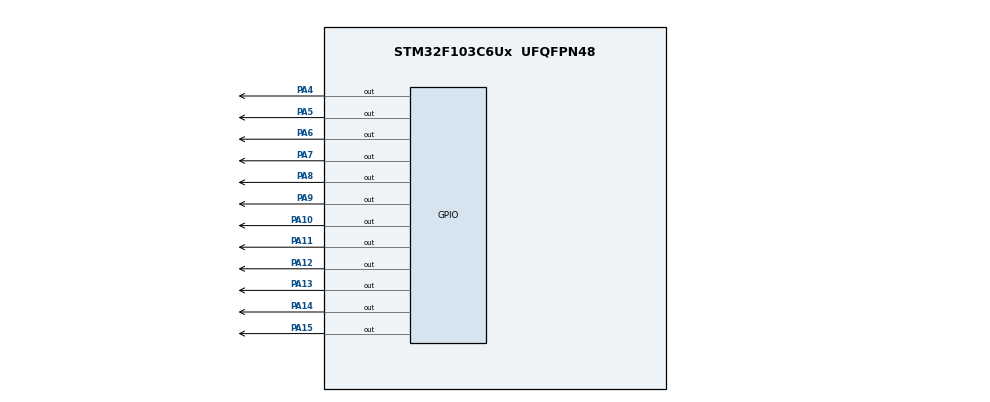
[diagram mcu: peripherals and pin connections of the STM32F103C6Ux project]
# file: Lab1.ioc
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Mcu.Family=STM32F1
Mcu.Name=STM32F103C6Ux
Mcu.Package=UFQFPN48
NVIC.PriorityGroup=NVIC_PRIORITYGROUP_4
PA10.Signal=GPIO_Output
PA11.Signal=GPIO_Output
PA12.Signal=GPIO_Output
PA13.Signal=GPIO_Output
PA14.Signal=GPIO_Output
PA15.Signal=GPIO_Output
PA4.Signal=GPIO_Output
PA5.Signal=GPIO_Output
PA6.Signal=GPIO_Output
PA7.Signal=GPIO_Output
PA8.Signal=GPIO_Output
PA9.Signal=GPIO_Output
ProjectManager.HeapSize=0x200
ProjectManager.StackSize=0x400
ProjectManager.TargetToolchain=STM32CubeIDE
RCC.APB1Freq_Value=8000000
RCC.APB2Freq_Value=8000000
board=custom

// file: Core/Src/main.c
/* USER CODE BEGIN Header */
/**
 ******************************************************************************
 * @file           : main.c
 * @brief          : Main program body
 ******************************************************************************
 * @attention
 *
 * Copyright (c) 2022 STMicroelectronics.
 * All rights reserved.
 *
 * This software is licensed under terms that can be found in the LICENSE file
 * in the root directory of this software component.
 * If no LICENSE file comes with this software, it is provided AS-IS.
 *
 ******************************************************************************
 */
/* USER CODE END Header */
#include "main.h"

void SystemClock_Config(void);
static void MX_GPIO_Init(void);

/* USER CODE BEGIN 0 */
void clearAllClock()
{
	GPIOA->ODR = 0b0;
}

void setNumberOnClock(int num)
{
	GPIOA->BSRR = 0b1 << (4 + num); // Start at PA4
}

void clearNumberOnClock(int num)
{
	GPIOA->BSRR = 0b1 << (4 + num) << 16; // Start at PA4
}
/* USER CODE END 0 */

int main(void)
{

	/* MCU Configuration--------------------------------------------------------*/

	/* Reset of all peripherals, Initializes the Flash interface and the Systick. */
	HAL_Init();

	/* Configure the system clock */
	SystemClock_Config();

	/* Initialize all configured peripherals */
	MX_GPIO_Init();
	/* USER CODE BEGIN 2 */
	int second = 0, minute = 0, hour = 0;
	/* USER CODE END 2 */

	/* Infinite loop */
	/* USER CODE BEGIN WHILE */
	while (1)
	{
		clearAllClock();
		setNumberOnClock(second / 5);
		setNumberOnClock(minute / 5);
		setNumberOnClock(hour / 12);

		HAL_Delay(1000);

		if (++second >= 60)
		{
			second = 0;
			if (++minute >= 60)
			{
				minute = 0;
				if (++hour >= 24)
				{
					hour = 0;
				}
			}
		}
		/* USER CODE END WHILE */

	}
}

void SystemClock_Config(void)
{
	RCC_OscInitTypeDef RCC_OscInitStruct = {0};
	RCC_ClkInitTypeDef RCC_ClkInitStruct = {0};

	/** Initializes the RCC Oscillators according to the specified parameters
	 * in the RCC_OscInitTypeDef structure.
	 */
	RCC_OscInitStruct.OscillatorType = RCC_OSCILLATORTYPE_HSI;
	RCC_OscInitStruct.HSIState = RCC_HSI_ON;
	RCC_OscInitStruct.HSICalibrationValue = RCC_HSICALIBRATION_DEFAULT;
	RCC_OscInitStruct.PLL.PLLState = RCC_PLL_NONE;
	if (HAL_RCC_OscConfig(&RCC_OscInitStruct) != HAL_OK)
	{
		Error_Handler();
	}

	/** Initializes the CPU, AHB and APB buses clocks
	 */
	RCC_ClkInitStruct.ClockType = RCC_CLOCKTYPE_HCLK | RCC_CLOCKTYPE_SYSCLK | RCC_CLOCKTYPE_PCLK1 | RCC_CLOCKTYPE_PCLK2;
	RCC_ClkInitStruct.SYSCLKSource = RCC_SYSCLKSOURCE_HSI;
	RCC_ClkInitStruct.AHBCLKDivider = RCC_SYSCLK_DIV1;
	RCC_ClkInitStruct.APB1CLKDivider = RCC_HCLK_DIV1;
	RCC_ClkInitStruct.APB2CLKDivider = RCC_HCLK_DIV1;

	if (HAL_RCC_ClockConfig(&RCC_ClkInitStruct, FLASH_LATENCY_0) != HAL_OK)
	{
		Error_Handler();
	}
}

static void MX_GPIO_Init(void)
{
	GPIO_InitTypeDef GPIO_InitStruct = {0};

	/* GPIO Ports Clock Enable */
	__HAL_RCC_GPIOA_CLK_ENABLE();

	/*Configure GPIO pin Output Level */
	HAL_GPIO_WritePin(GPIOA, GPIO_PIN_4 | GPIO_PIN_5 | GPIO_PIN_6 | GPIO_PIN_7 | GPIO_PIN_8 | GPIO_PIN_9 | GPIO_PIN_10 | GPIO_PIN_11 | GPIO_PIN_12 | GPIO_PIN_13 | GPIO_PIN_14 | GPIO_PIN_15, GPIO_PIN_RESET);

	/*Configure GPIO pins : PA4 PA5 PA6 PA7
							 PA8 PA9 PA10 PA11
							 PA12 PA13 PA14 PA15 */
	GPIO_InitStruct.Pin = GPIO_PIN_4 | GPIO_PIN_5 | GPIO_PIN_6 | GPIO_PIN_7 | GPIO_PIN_8 | GPIO_PIN_9 | GPIO_PIN_10 | GPIO_PIN_11 | GPIO_PIN_12 | GPIO_PIN_13 | GPIO_PIN_14 | GPIO_PIN_15;
	GPIO_InitStruct.Mode = GPIO_MODE_OUTPUT_PP;
	GPIO_InitStruct.Pull = GPIO_NOPULL;
	GPIO_InitStruct.Speed = GPIO_SPEED_FREQ_LOW;
	HAL_GPIO_Init(GPIOA, &GPIO_InitStruct);
}

void Error_Handler(void)
{
	__disable_irq();
	while (1)
	{
	}
}
